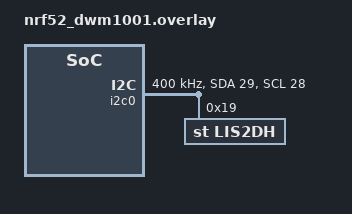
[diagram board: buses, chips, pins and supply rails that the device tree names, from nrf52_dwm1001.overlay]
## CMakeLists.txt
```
cmake_minimum_required(VERSION 3.13.1)
include($ENV{ZEPHYR_BASE}/cmake/app/boilerplate.cmake NO_POLICY_SCOPE)
project(zephyr-dwm1001)

FILE(GLOB app_sources src/*.c)
target_sources(app PRIVATE ${app_sources})
```

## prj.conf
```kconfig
CONFIG_SPI=y
CONFIG_SPI_1=y
CONFIG_SPI_1_NRF_SPIM=y

CONFIG_PRINTK=y

CONFIG_NEWLIB_LIBC=y
CONFIG_FLOAT=y

## IC2 SENSORS
CONFIG_SENSOR=y
CONFIG_I2C=y
CONFIG_LIS2DH=y

# BLUETOOTH
CONFIG_SYSTEM_WORKQUEUE_STACK_SIZE=2048
CONFIG_BT=y
CONFIG_BT_DEBUG_LOG=y
CONFIG_BT_SMP=y
CONFIG_BT_SIGNING=y
CONFIG_BT_PERIPHERAL=y
CONFIG_BT_GATT_DIS=y
CONFIG_BT_ATT_PREPARE_COUNT=2
CONFIG_BT_PRIVACY=y
CONFIG_BT_DEVICE_NAME="Custom BLE Example"
CONFIG_BT_DEVICE_APPEARANCE=833
CONFIG_BT_DEVICE_NAME_DYNAMIC=y
CONFIG_BT_DEVICE_NAME_MAX=65
CONFIG_BT_SETTINGS=y
CONFIG_FLASH=y
CONFIG_FLASH_PAGE_LAYOUT=y
CONFIG_FLASH_MAP=y
CONFIG_FCB=y
CONFIG_SETTINGS=y
CONFIG_SETTINGS_FCB=y
```

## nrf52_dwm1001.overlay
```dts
&i2c0 {

    //compatible = "nordic,nrf-twi";
    clock-frequency = <I2C_BITRATE_FAST>;
    status = "ok";
	sda-pin = <29>;
	scl-pin = <28>;

    lis2dh@19 {
		compatible = "st,lis2dh";
		reg = <0x19>;
		//irq-gpios = <&gpio0 25 (GPIO_PULL_UP | GPIO_ACTIVE_LOW)>;
		label = "LIS2DH";
	};
};
```

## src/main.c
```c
#include <zephyr/types.h>
#include <stddef.h>
#include <string.h>
#include <errno.h>
#include <misc/printk.h>
#include <misc/byteorder.h>
#include <zephyr.h>

#include <settings/settings.h>

#include <bluetooth/bluetooth.h>
#include <bluetooth/hci.h>
#include <bluetooth/conn.h>
#include <bluetooth/uuid.h>
#include <bluetooth/gatt.h>

#include "bas.h"



static const struct bt_data ad[] = {
	BT_DATA_BYTES(BT_DATA_FLAGS, (BT_LE_AD_GENERAL | BT_LE_AD_NO_BREDR)),
	BT_DATA_BYTES(BT_DATA_UUID16_ALL,
		      0x0d, 0x18, 0x0f, 0x18, 0x05, 0x18),
	BT_DATA_BYTES(BT_DATA_UUID128_ALL,
		      0xf0, 0xde, 0xbc, 0x9a, 0x78, 0x56, 0x34, 0x12,
		      0x78, 0x56, 0x34, 0x12, 0x78, 0x56, 0x34, 0x12),
};

static void connected(struct bt_conn *conn, u8_t err)
{
	if (err) {
		printk("Connection failed (err %u)\n", err);
	} else {
		printk("Connected\n");
	}
}

static void disconnected(struct bt_conn *conn, u8_t reason)
{
	printk("Disconnected (reason %u)\n", reason);
}

static struct bt_conn_cb conn_callbacks = {
	.connected = connected,
	.disconnected = disconnected,
};

static void bt_ready(int err)
{
	if (err) {
		printk("Bluetooth init failed (err %d)\n", err);
		return;
	}

	printk("Bluetooth initialized\n");

	bas_init();

	if (IS_ENABLED(CONFIG_SETTINGS)) {
		settings_load();
	}

	err = bt_le_adv_start(BT_LE_ADV_CONN_NAME, ad, ARRAY_SIZE(ad), NULL, 0);
	if (err) {
		printk("Advertising failed to start (err %d)\n", err);
		return;
	}

	printk("Advertising successfully started\n");
}

static void auth_passkey_display(struct bt_conn *conn, unsigned int passkey)
{
	char addr[BT_ADDR_LE_STR_LEN];

	bt_addr_le_to_str(bt_conn_get_dst(conn), addr, sizeof(addr));

	printk("Passkey for %s: %06u\n", addr, passkey);
}

static void auth_cancel(struct bt_conn *conn)
{
	char addr[BT_ADDR_LE_STR_LEN];

	bt_addr_le_to_str(bt_conn_get_dst(conn), addr, sizeof(addr));

	printk("Pairing cancelled: %s\n", addr);
}

static struct bt_conn_auth_cb auth_cb_display = {
	.passkey_display = auth_passkey_display,
	.passkey_entry = NULL,
	.cancel = auth_cancel,
};

void main(void)
{
	int err;

	err = bt_enable(bt_ready);
	if (err) {
		printk("Bluetooth init failed (err %d)\n", err);
		return;
	}

	bt_conn_cb_register(&conn_callbacks);
	bt_conn_auth_cb_register(&auth_cb_display);

	/* Implement notification. At the moment there is no suitable way
	 * of starting delayed work so we do it here
	 */
	while (1) {
		k_sleep(MSEC_PER_SEC);

		/* Battery level simulation */
		bas_notify();

	}
}
```

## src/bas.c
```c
#include "bas.h"

static struct bt_gatt_ccc_cfg  blvl_ccc_cfg[BT_GATT_CCC_MAX] = {};
static u8_t simulate_blvl;
static u8_t battery = 100U;

static void blvl_ccc_cfg_changed(const struct bt_gatt_attr *attr,
				 u16_t value)
{
	simulate_blvl = (value == BT_GATT_CCC_NOTIFY) ? 1 : 0;
}

static ssize_t read_blvl(struct bt_conn *conn, const struct bt_gatt_attr *attr,
			 void *buf, u16_t len, u16_t offset)
{
	const char *value = attr->user_data;

	return bt_gatt_attr_read(conn, attr, buf, len, offset, value,
				 sizeof(*value));
}

/* Battery Service Declaration */
static struct bt_gatt_attr attrs[] = {
	BT_GATT_PRIMARY_SERVICE(BT_UUID_BAS),
	BT_GATT_CHARACTERISTIC(BT_UUID_BAS_BATTERY_LEVEL,
			       BT_GATT_CHRC_READ | BT_GATT_CHRC_NOTIFY,
			       BT_GATT_PERM_READ, read_blvl, NULL, &battery),
	BT_GATT_CCC(blvl_ccc_cfg, blvl_ccc_cfg_changed),
};

static struct bt_gatt_service bas_svc = BT_GATT_SERVICE(attrs);

void bas_init(void)
{
	bt_gatt_service_register(&bas_svc);
}

void bas_notify(void)
{
	if (!simulate_blvl) {
		return;
	}

	battery--;
	if (!battery) {
		/* Software eco battery charger */
		battery = 100U;
	}

	bt_gatt_notify(NULL, &attrs[1], &battery, sizeof(battery));
}
```

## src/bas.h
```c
#ifndef BAS_BLE
#define BASE_BLE

#include <zephyr/types.h>
#include <stddef.h>
#include <string.h>
#include <errno.h>
#include <misc/printk.h>
#include <misc/byteorder.h>
#include <zephyr.h>

#include <bluetooth/bluetooth.h>
#include <bluetooth/hci.h>
#include <bluetooth/conn.h>
#include <bluetooth/uuid.h>
#include <bluetooth/gatt.h>

void bas_init(void);
void bas_notify(void);

#endif
```
